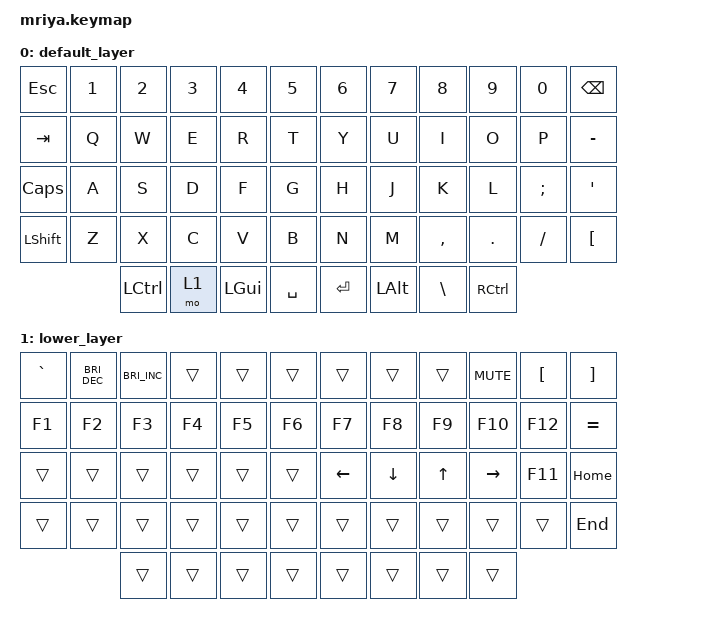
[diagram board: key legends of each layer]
/*
 * Copyright (c) 2023 Andrei Gaevskii
 *
 * SPDX-License-Identifier: MIT
 */

#include <behaviors.dtsi>
#include <dt-bindings/zmk/keys.h>

#define DEF 0
#define LWR 1
#define RSE 2
#define ADJ 3

&lt { quick_tap_ms = <200>; };

&mt { quick_tap_ms = <200>; };

/ {
    keymap {
        compatible = "zmk,keymap";

        default_layer {
            bindings = <
  &kp ESCAPE    &kp NUMBER_1  &kp N2            &kp N3  &kp N4    &kp N5       &kp N6     &kp N7    &kp N8         &kp N9     &kp N0    &kp BACKSPACE
  &kp TAB       &kp Q         &kp W             &kp E   &kp R     &kp T        &kp Y      &kp U     &kp I          &kp O      &kp P     &kp MINUS
  &kp CAPSLOCK  &kp A         &kp S             &kp D   &kp F     &kp G        &kp H      &kp J     &kp K          &kp L      &kp SEMI  &kp SINGLE_QUOTE
  &kp LSHIFT    &kp Z         &kp X             &kp C   &kp V     &kp B        &kp N      &kp M     &kp COMMA      &kp DOT    &kp FSLH  &kp LEFT_BRACKET
                              &kp LEFT_CONTROL  &mo 1   &kp LGUI  &kp SPACE    &kp ENTER  &kp LALT  &kp BACKSLASH  &kp RCTRL
            >;
        };

        lower_layer {
            bindings = <
  &kp GRAVE  &kp C_BRIGHTNESS_DEC  &kp C_BRIGHTNESS_INC  &trans  &trans  &trans    &trans    &trans          &trans        &kp K_MUTE  &kp LEFT_BRACKET  &kp RIGHT_BRACKET
  &kp F1     &kp F2                &kp F3                &kp F4  &kp F5  &kp F6    &kp F7    &kp F8          &kp F9        &kp F10     &kp F12           &kp EQUAL
  &trans     &trans                &trans                &trans  &trans  &trans    &kp LEFT  &kp DOWN_ARROW  &kp UP_ARROW  &kp RIGHT   &kp F11           &kp HOME
  &trans     &trans                &trans                &trans  &trans  &trans    &trans    &trans          &trans        &trans      &trans            &kp END
                                   &trans                &trans  &trans  &trans    &trans    &trans          &trans        &trans
            >;
        };
    };
};
